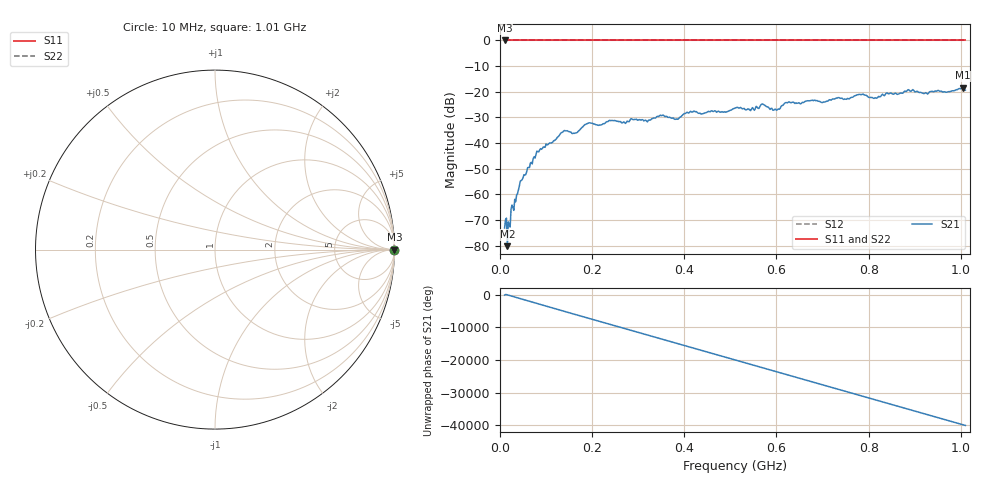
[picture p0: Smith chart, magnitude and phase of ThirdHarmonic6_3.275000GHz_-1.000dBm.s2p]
! 8/17/2025 10:08:41 AM
! C:\ANRITSUVNA\TEMP\TEMP.S2P
! CHANNEL.1
! TR.MEASUREMENT
! RAW.DATA
! RF.CORRECTION.OFF
! AVERAGING.OFF
! IF.BANDWIDTH: 5KHZ
! SWEEPTYPE:  FREQ.SWEEP(Linear)
! Reference Plane Port Info
! PORT:  PORT1  PORT2
! DISTANCE:  0  m  0  m
! TIME:  0  s  0  s
! PHASE.OFFSET:  0  deg.  0  deg.
! LOSS:  0  dB  0  dB
! REF.LOSS:  0  dB  0  dB
! REF.FREQ:  0  Hz  0  Hz
! Power Info
! POWER:  -20  dBm  -20  dBm
! EFF.POWER:  -20  dBm  -20  dBm
! SOURCE.ATTEN:  0  dB  0  dB
! TEST.ATTEN:  0  dB  0  dB
# GHZ S RI R 50.0
! FREQ.GHZ  S11RE  S11IM  S21RE  S21IM  S12RE  S12IM  S22RE  S22IM
!; PortSelection: Port_12
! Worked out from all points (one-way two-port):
!   501 points, 10 MHz to 1.01 GHz, reference 50 ohm
!   highest |S21| = -18.42 dB at 1.004 GHz (marker M1); lowest = -80.1 dB at 16 MHz (marker M2)
!   lowest |S11| = 0.0 dB at 10 MHz (marker M3)
!   |S11| at or under -10 dB: nowhere
!   |S22| runs from 0.0 to 0.0 dB; largest |S21 - S12| = 1.1
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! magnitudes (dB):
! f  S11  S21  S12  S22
! 10 MHz  0.0  -73.0  0.0  0.0
! 16 MHz  0.0  -80.1  0.0  0.0
! 20 MHz  0.0  -71.6  0.0  0.0
! 28 MHz  0.0  -64.9  0.0  0.0
! 48 MHz  0.0  -54.3  0.0  0.0
! 82 MHz  0.0  -43.3  0.0  0.0
! 136 MHz  0.0  -35.7  0.0  0.0
! 162 MHz  0.0  -36.2  0.0  0.0
! 178 MHz  0.0  -33.9  0.0  0.0
! 344 MHz  0.0  -29.6  0.0  0.0
! 382 MHz  0.0  -30.6  0.0  0.0
! 416 MHz  0.0  -27.9  0.0  0.0
! 510 MHz  0.0  -26.4  0.0  0.0
! 570 MHz  0.0  -24.8  0.0  0.0
! 598 MHz  0.0  -26.8  0.0  0.0
! 624 MHz  0.0  -24.3  0.0  0.0
! 678 MHz  0.0  -23.3  0.0  0.0
! 784 MHz  0.0  -21.1  0.0  0.0
! 814 MHz  0.0  -22.4  0.0  0.0
! 844 MHz  0.0  -20.8  0.0  0.0
! 1.004 GHz  0.0  -18.4  0.0  0.0
! 1.01 GHz  0.0  -19.4  0.0  0.0
